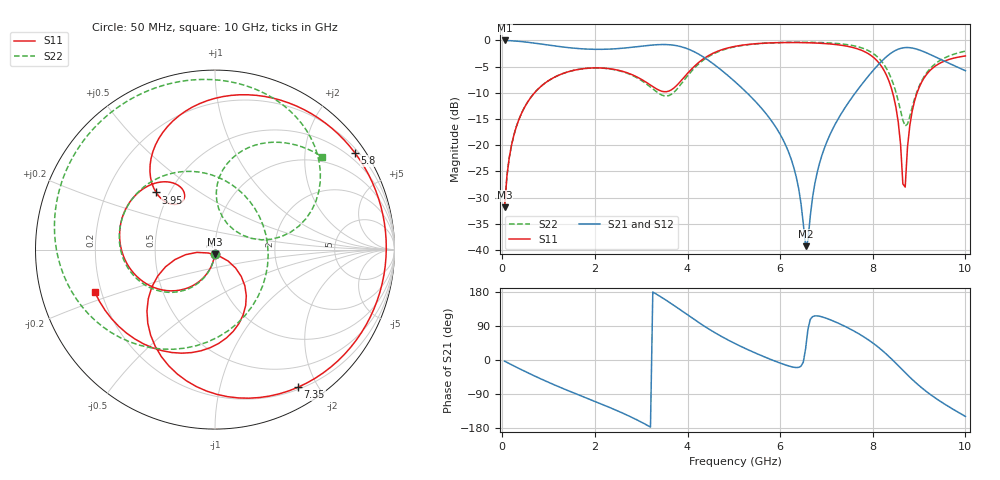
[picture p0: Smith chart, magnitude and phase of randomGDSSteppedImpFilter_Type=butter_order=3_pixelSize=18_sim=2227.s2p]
! freq	dB(S11)	phase(S11)	dB(S12)	phase(S12)
!  dB(S21)	phase(S21)	dB(S22)	phase(S22)
!S-par simulation data
#  GHz  S  DB  R 50
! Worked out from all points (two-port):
!   200 points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, 50 MHz to 10 GHz, reference 50 ohm
!   highest |S21| = -0.01 dB at 50 MHz (marker M1); lowest = -39.3 dB at 6.55 GHz (marker M2)
!   |S21| within 3 dB of the highest: start of sweep to 4.314 GHz; 8.31 GHz to 9.317 GHz (1.008 GHz wide, 11.4 % of centre)
!   lowest |S11| = -31.9 dB at 50 MHz (marker M3), VSWR 1.05, Z = 49.8 - j2.53 ohm
!   |S11| at or under -10 dB: start of sweep to 696.8 MHz; 8.429 GHz to 8.957 GHz (528.2 MHz wide, 6.08 % of centre)
!   |S22| runs from -31.9 to -0.3 dB; largest |S21 - S12| = 0
!   S11 on the Smith chart (normalised r, x): 50 MHz: 1.00, -0.05; 3.95 GHz: 0.42, +0.34; 5.8 GHz: 0.30, +3.18; 7.35 GHz: 0.23, -1.75; 10 GHz: 0.17, -0.16
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0.05  -31.90 -93.4  -0.01 -3.2  -0.01 -3.2  -31.90 -93.2
0.2  -19.97 -103.2  -0.07 -12.5  -0.07 -12.5  -19.96 -102.7
0.5  -12.46 -122.0  -0.30 -30.7  -0.30 -30.7  -12.46 -120.6
1.75  -5.39 171.5  -1.62 -97.1  -1.62 -97.1  -5.40 173.4
2.75  -6.35 128.5  -1.36 -148.6  -1.36 -148.6  -6.46 114.4
3.4  -9.57 121.2  -0.79 168.5  -0.79 168.5  -10.23 36.5
3.95  -6.79 135.9  -1.43 123.4  -1.43 123.4  -7.32 -73.4
4.4  -3.18 116.9  -3.49 86.3  -3.49 86.3  -3.39 -127.9
5.05  -1.09 78.0  -8.08 41.9  -8.08 41.9  -1.16 -176.8
5.8  -0.47 34.6  -15.19 1.3  -15.19 1.3  -0.47 144.8
6.3  -0.40 6.0  -24.43 -19.3  -24.43 -19.3  -0.35 123.1
6.55  -0.43 -8.5  -39.29 30.2  -39.29 30.2  -0.35 112.5
6.7  -0.47 -17.4  -29.97 114.4  -29.97 114.4  -0.37 106.2
7.35  -0.96 -58.9  -13.55 91.8  -13.55 91.8  -0.69 76.9
7.85  -2.27 -97.7  -7.41 57.7  -7.41 57.7  -1.72 49.4
8.35  -7.77 -149.4  -2.71 9.1  -2.71 9.1  -6.27 15.7
8.55  -15.60 -170.2  -1.67 -14.9  -1.67 -14.9  -11.55 11.9
8.7  -28.00 -59.7  -1.37 -33.3  -1.37 -33.3  -16.35 45.2
8.8  -16.24 -41.8  -1.38 -45.3  -1.38 -45.3  -14.50 77.6
9  -9.00 -61.2  -1.81 -67.5  -1.81 -67.5  -8.77 88.0
9.5  -4.13 -112.7  -3.77 -112.4  -3.77 -112.4  -3.57 64.0
10  -2.97 -160.8  -5.78 -148.8  -5.78 -148.8  -2.04 40.8
